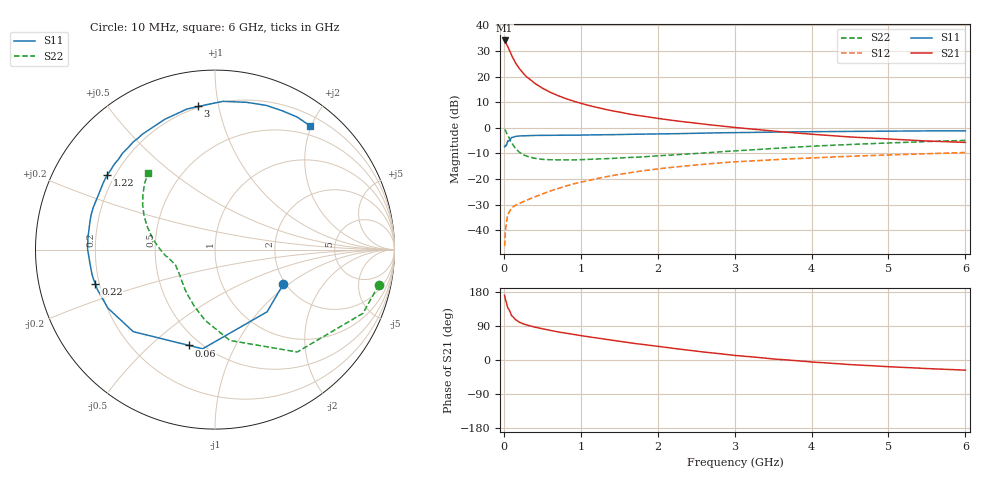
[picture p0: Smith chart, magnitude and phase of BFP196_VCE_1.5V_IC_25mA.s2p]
! Infineon Technologies  Discrete & RF Semiconductors
! BFP196
! VCE = 1.5 V,  IC =  25mA
! Common Emitter S-Parameters:  Jan 2016
# GHz  S  MA  R  50
!  f  S11  S21  S12  S22
! GHz  MAG  ANG  MAG  ANG  MAG  ANG  MAG  ANG
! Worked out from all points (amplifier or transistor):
!   210 points, 10 MHz to 6 GHz, reference 50 ohm
!   highest |S21| = 34.1 dB at 10 MHz (marker M1)
!   |S21| within 3 dB of that: start of sweep to 60.52 MHz
!   unconditionally stable (mu >= 1): 576.5 MHz to 4.409 GHz
!   at 185 MHz: K = 0.55, MSG = 26.8 dB, |S12| = -29.8 dB
!   at 1.52 GHz: K = 1.10, MAG = 10.1 dB, |S12| = -18.1 dB
!   at 6 GHz: K = 0.99, MSG = 2.0 dB, |S12| = -9.7 dB
!   S11 on the Smith chart (normalised r, x): 10 MHz: 1.94, -0.92; 60 MHz: 0.43, -0.67; 220 MHz: 0.18, -0.14; 1.22 GHz: 0.17, +0.30; 3 GHz: 0.19, +0.87; 6 GHz: 0.35, +1.97
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0.01  0.4262 -27.0  50.51 170.6  0.0049 80.3  0.9339 -12.1
0.02  0.4521 -50.0  48.02 160.2  0.0095 72.5  0.8975 -23.3
0.05  0.557 -97.1  38.79 138.2  0.0198 55.6  0.7319 -51.2
0.06  0.5533 -105.3  35.9 135.3  0.0212 52.7  0.6767 -55.5
0.1  0.6453 -134.9  25.83 117.3  0.027 44.1  0.5129 -80.7
0.15  0.6802 -151.4  18.54 106.6  0.0307 41.5  0.3973 -98.1
0.2  0.6917 -161.1  14.37 100.0  0.0333 41.6  0.3356 -110.1
0.22  0.6936 -163.8  13.24 98.4  0.0344 42.3  0.3198 -113.7
0.26  0.6991 -168.8  11.21 94.8  0.0366 43.7  0.2945 -121.2
0.3  0.7003 -172.7  9.736 92.0  0.0388 45.4  0.2788 -126.6
0.4  0.71 179.8  7.395 86.7  0.0446 48.5  0.254 -136.8
0.5  0.7109 174.6  5.923 82.4  0.0511 51.7  0.2423 -144.0
0.7  0.7167 164.8  4.259 74.1  0.065 54.4  0.2364 -152.5
1.02  0.7202 152.6  2.942 63.7  0.0884 55.0  0.2394 -160.2
1.22  0.7299 145.4  2.473 57.5  0.103 54.2  0.2457 -163.7
1.6  0.7443 133.7  1.886 46.6  0.1302 50.8  0.2619 -169.1
2.02  0.7601 121.6  1.51 35.5  0.1589 45.8  0.2844 -175.1
3  0.8035 96.7  1.015 12.1  0.2163 32.8  0.3538 169.7
3.1  0.8063 94.7  0.982 10.5  0.2205 31.4  0.3614 168.0
4.1  0.8409 76.3  0.73 -6.4  0.2624 19.2  0.4441 153.3
5.1  0.8607 62.8  0.594 -18.6  0.2985 8.2  0.5114 141.5
6  0.8695 52.6  0.518 -26.8  0.3291 -2.0  0.5677 131.0
